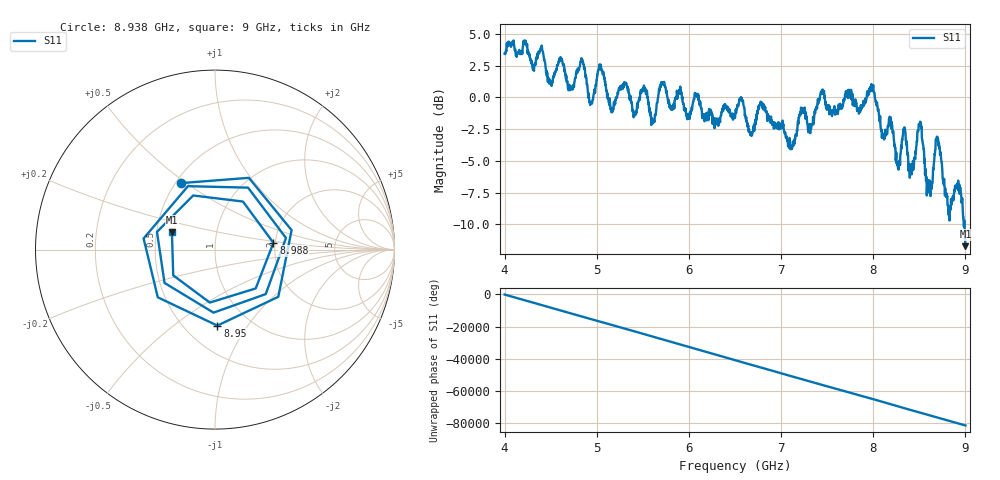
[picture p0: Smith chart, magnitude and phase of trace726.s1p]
! Created with skrf 1.8.0 (http://scikit-rf.org).
# Hz S RI R 50.0
!freq ReS11 ImS11
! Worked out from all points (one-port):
!   1601 points, 4 GHz to 9 GHz, reference 50 ohm
!   lowest |S11| = -11.7 dB at 9 GHz (marker M1), VSWR 1.70, Z = 30.1 + j6.34 ohm
!   |S11| at or under -10 dB: 8.982716 GHz to 8.985469 GHz (2.753 MHz wide, 0.0306 % of centre); 8.990408 GHz to end of sweep
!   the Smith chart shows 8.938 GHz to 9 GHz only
!   S11 on the Smith chart (normalised r, x): 8.938 GHz: 0.53, +0.48; 8.95 GHz: 0.71, -0.73; 8.988 GHz: 1.96, +0.16; 9 GHz: 0.60, +0.13
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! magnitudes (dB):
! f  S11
! 4 GHz  3.4
! 4.625 GHz  2.9
! 4.716 GHz  0.7
! 4.847 GHz  2.8
! 4.934 GHz  -0.4
! 5.034 GHz  2.3
! 5.156 GHz  -1.1
! 5.25 GHz  0.7
! 5.612 GHz  -1.9
! 5.709 GHz  1.1
! 5.875 GHz  -0.1
! 6.5 GHz  -1.6
! 6.791 GHz  -0.5
! 7.125 GHz  -3.9
! 7.231 GHz  -0.9
! 7.75 GHz  0.4
! 7.988 GHz  0.5
! 8.266 GHz  -5.1
! 8.334 GHz  -2.5
! 8.375 GHz  -4.6
! 8.503 GHz  -2.2
! 8.6 GHz  -6.8
! 8.697 GHz  -3.1
! 8.816 GHz  -8.6
! 8.938 GHz  -7.6
! 8.95 GHz  -7.5
! 8.988 GHz  -9.7
! 9 GHz  -11.7
